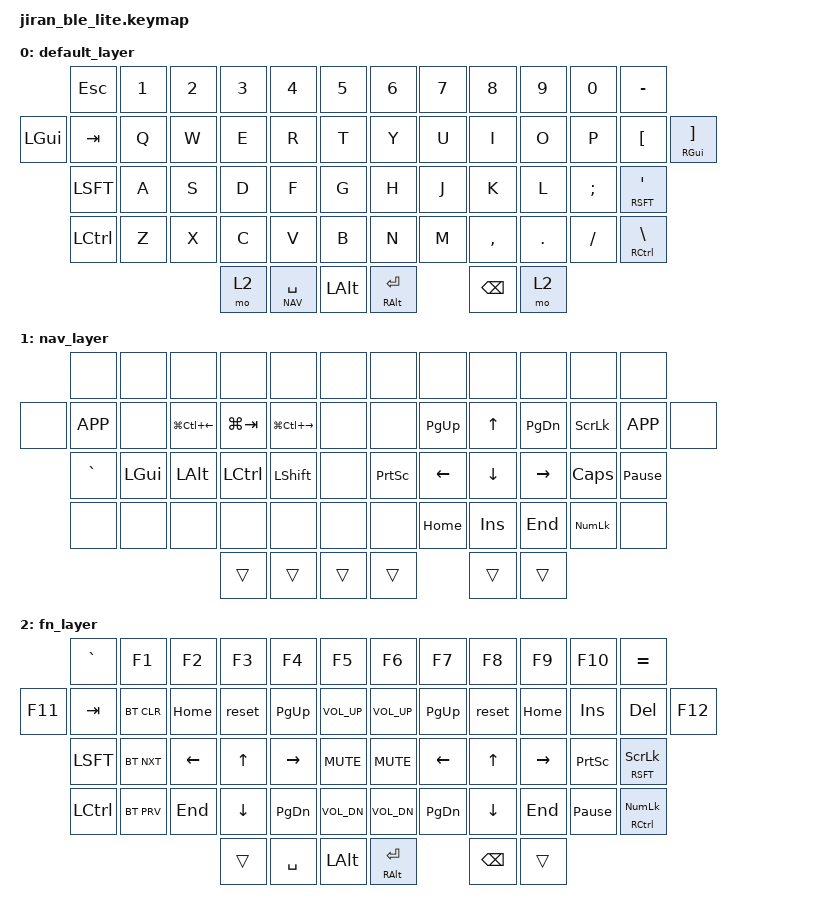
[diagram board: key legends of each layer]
/*
 * Copyright (c) 2021 The ZMK Contributors
 *
 * SPDX-License-Identifier: MIT
 */

#include <behaviors.dtsi>
#include <dt-bindings/zmk/keys.h>
#include <dt-bindings/zmk/bt.h>

#define DEFAULT 0
#define NAV 1
#define FN 2

/ {
        keymap {
                compatible = "zmk,keymap";

                default_layer {
                        bindings = <
           &kp ESC  &kp N1 &kp N2 &kp N3 &kp N4        &kp N5       &kp N6 &kp N7  &kp N8   &kp N9  &kp N0   &kp MINUS
  &kp LGUI &kp TAB  &kp Q  &kp W  &kp E  &kp R         &kp T        &kp Y  &kp U   &kp I    &kp O   &kp P    &kp LBKT      &mt RGUI RBKT
           &kp LSFT &kp A  &kp S  &kp D  &kp F         &kp G        &kp H  &kp J   &kp K    &kp L   &kp SCLN &mt RSFT SQT
           &kp LCTL &kp Z  &kp X  &kp C  &kp V         &kp B        &kp N  &kp M   &kp CMMA &kp DOT &kp FSLH &mt RCTL BSLH
                                  &mo 2  &lt NAV SPC   &kp LALT     &mt RALT RET   &kp BSPC &mo 2
                        >;
                };

                nav_layer {
                        bindings = <
           &none     &none    &none            &none        &none             &none     &none     &none     &none    &none     &none       &none
  &none    &kp K_APP &none    &kp LG(LC(LEFT)) &kp LG(TAB)  &kp LG(LC(RIGHT)) &none     &none     &kp PG_UP &kp UP   &kp PG_DN &kp SLCK    &kp K_APP       &none
           &kp GRAVE &kp LGUI &kp LALT         &kp LCTRL    &kp LSHFT         &none     &kp PSCRN &kp LEFT  &kp DOWN &kp RIGHT &kp CLCK    &kp PAUSE_BREAK
           &none     &none    &none            &none        &none             &none     &none     &kp HOME  &kp INS  &kp END   &kp KP_NLCK &none
                                               &trans       &trans            &trans    &trans    &trans    &trans
                        >;
                };

                fn_layer {
                       bindings = <
          &kp GRAVE &kp F1      &kp F2   &kp F3   &kp F4    &kp F5           &kp F6       &kp F7    &kp F8   &kp F9    &kp F10         &kp EQUAL
 &kp F11  &kp TAB   &bt BT_CLR  &kp HOME &reset   &kp PG_UP &kp C_VOL_UP     &kp C_VOL_UP &kp PG_UP &reset   &kp HOME  &kp INS         &kp DEL       &kp F12
          &kp LSFT  &bt BT_NXT  &kp LEFT &kp UP   &kp RIGHT &kp C_MUTE       &kp C_MUTE   &kp LEFT  &kp UP   &kp RIGHT &kp PSCRN       &mt RSFT SLCK
          &kp LCTL  &bt BT_PRV  &kp END  &kp DOWN &kp PG_DN &kp C_VOL_DN     &kp C_VOL_DN &kp PG_DN &kp DOWN &kp END   &kp PAUSE_BREAK &mt RCTL KP_NUM
                                         &trans   &kp SPC   &kp LALT         &mt RALT RET &kp BSPC  &trans
                       >;
                };
        };
};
